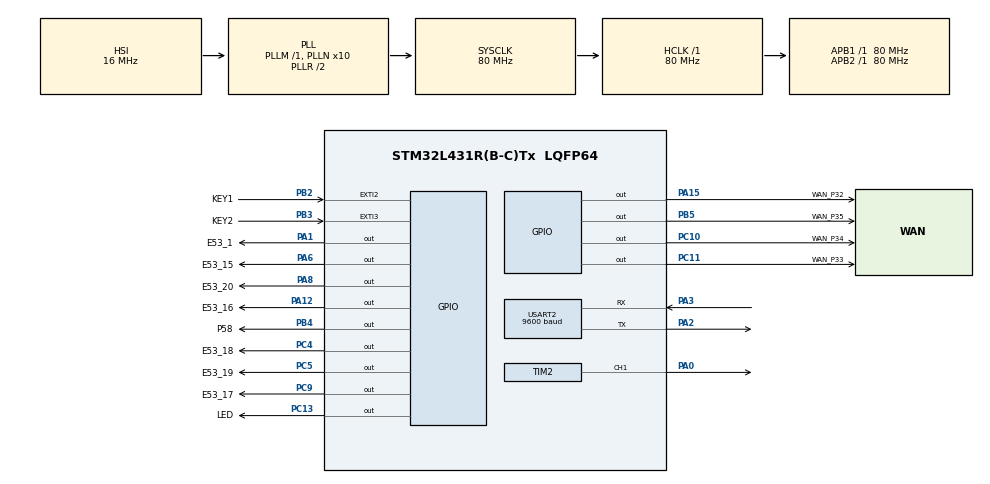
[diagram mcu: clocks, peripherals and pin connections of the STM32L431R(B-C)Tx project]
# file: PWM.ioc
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Dma.Request0=USART2_RX
Dma.Request1=USART2_TX
Dma.USART2_RX.0.Direction=DMA_PERIPH_TO_MEMORY
Dma.USART2_RX.0.Instance=DMA1_Channel6
Dma.USART2_RX.0.MemDataAlignment=DMA_MDATAALIGN_BYTE
Dma.USART2_RX.0.MemInc=DMA_MINC_ENABLE
Dma.USART2_RX.0.Mode=DMA_NORMAL
Dma.USART2_RX.0.PeriphDataAlignment=DMA_PDATAALIGN_BYTE
Dma.USART2_RX.0.PeriphInc=DMA_PINC_DISABLE
Dma.USART2_RX.0.Priority=DMA_PRIORITY_LOW
Dma.USART2_TX.1.Direction=DMA_MEMORY_TO_PERIPH
Dma.USART2_TX.1.Instance=DMA1_Channel7
Dma.USART2_TX.1.MemDataAlignment=DMA_MDATAALIGN_BYTE
Dma.USART2_TX.1.MemInc=DMA_MINC_ENABLE
Dma.USART2_TX.1.Mode=DMA_NORMAL
Dma.USART2_TX.1.PeriphDataAlignment=DMA_PDATAALIGN_BYTE
Dma.USART2_TX.1.PeriphInc=DMA_PINC_DISABLE
Dma.USART2_TX.1.Priority=DMA_PRIORITY_LOW
Mcu.Family=STM32L4
Mcu.Name=STM32L431R(B-C)Tx
Mcu.Package=LQFP64
NVIC.DMA1_Channel6_IRQn=true\:0\:0\:false\:false\:true\:false\:true\:true
NVIC.DMA1_Channel7_IRQn=true\:0\:0\:false\:false\:true\:false\:true\:true
NVIC.EXTI3_IRQn=true\:0\:0\:false\:false\:true\:true\:true\:true
NVIC.PriorityGroup=NVIC_PRIORITYGROUP_4
NVIC.TIM2_IRQn=true\:0\:0\:false\:false\:true\:true\:true\:true
NVIC.USART2_IRQn=true\:0\:0\:false\:false\:true\:true\:true\:true
PA0.Signal=S_TIM2_CH1
PA1.GPIO_Label=E53_1
PA1.Signal=GPIO_Output
PA12.GPIO_Label=E53_16
PA12.Signal=GPIO_Output
PA15\ (JTDI).GPIO_Label=WAN_P32
PA15\ (JTDI).Signal=GPIO_Output
PA2.Mode=Asynchronous
PA2.Signal=USART2_TX
PA3.Mode=Asynchronous
PA3.Signal=USART2_RX
PA6.GPIO_Label=E53_15
PA6.Signal=GPIO_Output
PA8.GPIO_Label=E53_20
PA8.Signal=GPIO_Output
PB2.GPIO_Label=KEY1
PB2.GPIO_PuPd=GPIO_PULLUP
PB2.Signal=GPXTI2
PB3\ (JTDO-TRACESWO).GPIO_Label=KEY2
PB3\ (JTDO-TRACESWO).GPIO_PuPd=GPIO_PULLUP
PB3\ (JTDO-TRACESWO).Signal=GPXTI3
PB4\ (NJTRST).GPIO_Label=P58
PB4\ (NJTRST).Signal=GPIO_Output
PB5.GPIO_Label=WAN_P35
PB5.Signal=GPIO_Output
PC10.GPIO_Label=WAN_P34
PC10.Signal=GPIO_Output
PC11.GPIO_Label=WAN_P33
PC11.Signal=GPIO_Output
PC13.GPIO_Label=LED
PC13.Signal=GPIO_Output
PC4.GPIO_Label=E53_18
PC4.Signal=GPIO_Output
PC5.GPIO_Label=E53_19
PC5.Signal=GPIO_Output
PC9.GPIO_Label=E53_17
PC9.Signal=GPIO_Output
ProjectManager.HeapSize=0x200
ProjectManager.StackSize=0x400
ProjectManager.TargetToolchain=MDK-ARM V5.27
RCC.ADCFreq_Value=64000000
RCC.AHBFreq_Value=80000000
RCC.APB1Freq_Value=80000000
RCC.APB1TimFreq_Value=80000000
RCC.APB2Freq_Value=80000000
RCC.APB2TimFreq_Value=80000000
RCC.CortexFreq_Value=80000000
RCC.HCLKFreq_Value=80000000
RCC.HSE_VALUE=8000000
RCC.HSI48_VALUE=48000000
RCC.HSI_VALUE=16000000
RCC.LSE_VALUE=32768
RCC.MSI_VALUE=4000000
RCC.PLLN=10
RCC.PLLSourceVirtual=RCC_PLLSOURCE_HSI
RCC.SYSCLKFreq_VALUE=80000000
RCC.SYSCLKSource=RCC_SYSCLKSOURCE_PLLCLK
RCC.VCOOutputFreq_Value=160000000
SH.S_TIM2_CH1.0=TIM2_CH1,PWM Generation1 CH1
TIM2.Channel-PWM\ Generation1\ CH1=TIM_CHANNEL_1
TIM2.Period=1739-1
TIM2.Prescaler=4-1
TIM2.Pulse-PWM\ Generation1\ CH1=869
USART2.BaudRate=9600
USART2.VirtualMode-Asynchronous=VM_ASYNC
board=custom

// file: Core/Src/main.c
/* USER CODE BEGIN Header */
/**
  ******************************************************************************
  * @file           : main.c
  * @brief          : Main program body
  ******************************************************************************
  * @attention
  *
  * Copyright (c) 2024 STMicroelectronics.
  * All rights reserved.
  *
  * This software is licensed under terms that can be found in the LICENSE file
  * in the root directory of this software component.
  * If no LICENSE file comes with this software, it is provided AS-IS.
  *
  ******************************************************************************
  */
/* USER CODE END Header */
#include "main.h"

/* USER CODE BEGIN Includes */
#include "tube.h"
/* USER CODE END Includes */

/* USER CODE BEGIN PD */
#define DURATION_PER_BIT 10
/* USER CODE END PD */

TIM_HandleTypeDef htim2;

UART_HandleTypeDef huart2;
DMA_HandleTypeDef hdma_usart2_rx;
DMA_HandleTypeDef hdma_usart2_tx;

/* USER CODE BEGIN PV */
uint8_t digit = 1, transmitting = 0, num_left_end = 10, num_middle_left = 10, num_middle_right = 10, num_right_end = 10;
/* USER CODE END PV */

void SystemClock_Config(void);
static void MX_GPIO_Init(void);
static void MX_DMA_Init(void);
static void MX_USART2_UART_Init(void);
static void MX_TIM2_Init(void);

/* USER CODE BEGIN 0 */
void sendData(char left_end, char middle_left, char middle_right, char right_end, char durationPerBit){
	tube_display(10,10,10,10,4);

	HAL_TIM_PWM_Start_IT(&htim2, TIM_CHANNEL_1);
	HAL_Delay(durationPerBit);//Start Bit #1
	HAL_Delay(left_end * durationPerBit);//High Level Bit #1

	HAL_TIM_PWM_Stop_IT(&htim2, TIM_CHANNEL_1);
	HAL_Delay(9*durationPerBit - left_end*durationPerBit);//Low Level Bit #1
	HAL_Delay(durationPerBit);//Stop Bit #1

	HAL_TIM_PWM_Start_IT(&htim2, TIM_CHANNEL_1);
	HAL_Delay(durationPerBit);//Start Bit #2
	HAL_Delay(middle_left * durationPerBit);//High Level Bit #2

	HAL_TIM_PWM_Stop_IT(&htim2, TIM_CHANNEL_1);
	HAL_Delay(9*durationPerBit - middle_left*durationPerBit);//Low Level Bit #2
	HAL_Delay(durationPerBit);//Stop Bit #2

	HAL_TIM_PWM_Start_IT(&htim2, TIM_CHANNEL_1);
	HAL_Delay(durationPerBit);//Start Bit #3
	HAL_Delay(middle_right * durationPerBit);//High Level Bit #3

	HAL_TIM_PWM_Stop_IT(&htim2, TIM_CHANNEL_1);
	HAL_Delay(9*durationPerBit - middle_right*durationPerBit);//Low Level Bit #3
	HAL_Delay(durationPerBit);//Stop Bit #3

	HAL_TIM_PWM_Start_IT(&htim2, TIM_CHANNEL_1);
	HAL_Delay(durationPerBit);//Start Bit #4
	HAL_Delay(right_end * durationPerBit);//High Level Bit #4

	HAL_TIM_PWM_Stop_IT(&htim2, TIM_CHANNEL_1);
	HAL_Delay(9*durationPerBit - right_end*durationPerBit);//Low Level Bit #4
	HAL_Delay(durationPerBit);//Stop Bit #4
}
/* USER CODE END 0 */

int main(void)
{
  /* USER CODE BEGIN 1 */
	GPIO_PinState	key1_pin_state_new = GPIO_PIN_SET, key1_pin_state_old = GPIO_PIN_SET;
	GPIO_PinState	key2_pin_state_new = GPIO_PIN_SET, key2_pin_state_old = GPIO_PIN_SET;
  /* USER CODE END 1 */

  /* MCU Configuration--------------------------------------------------------*/

  /* Reset of all peripherals, Initializes the Flash interface and the Systick. */
  HAL_Init();

  /* Configure the system clock */
  SystemClock_Config();

  /* Initialize all configured peripherals */
  MX_GPIO_Init();
  MX_DMA_Init();
  MX_USART2_UART_Init();
  MX_TIM2_Init();
  /* USER CODE BEGIN 2 */
	HAL_TIM_Base_Start_IT(&htim2);

  /* USER CODE END 2 */

  /* Infinite loop */
  while (1)
  {

    /* USER CODE BEGIN 3 */
		key1_pin_state_new = HAL_GPIO_ReadPin(KEY1_GPIO_Port,KEY1_Pin);
//		if(key1_pin_state_new != key1_pin_state_old){
//		if ((key1_pin_state_new == GPIO_PIN_RESET) && (key1_pin_state_old == GPIO_PIN_SET))
//		{
//			HAL_TIM_PWM_Start_IT(&htim2, TIM_CHANNEL_1);
//		}
//		else if ((key1_pin_state_new == GPIO_PIN_SET) && (key1_pin_state_old == GPIO_PIN_RESET))
//		{
//			HAL_TIM_PWM_Stop_IT(&htim2, TIM_CHANNEL_1);
//		}
//	}
		if ((key1_pin_state_new == GPIO_PIN_RESET) && (key1_pin_state_old == GPIO_PIN_SET)){
			if(digit == 1){
				num_left_end++;
				if(num_left_end>9) num_left_end=0;
			}
			else if(digit == 2){
				num_middle_left++;
				if(num_middle_left>9) num_middle_left=0;
			}
			else if(digit == 3){
				num_middle_right++;
				if(num_middle_right>9) num_middle_right=0;
			}
			else if(digit == 4){
				num_right_end++;
				if(num_right_end>9) num_right_end=0;
			}
		}
		key1_pin_state_old = key1_pin_state_new;

		key2_pin_state_new = HAL_GPIO_ReadPin(KEY2_GPIO_Port,KEY2_Pin);
		if ((key2_pin_state_new == GPIO_PIN_RESET) && (key2_pin_state_old == GPIO_PIN_SET)){
			if(digit == 1 && num_left_end<10) digit++;
			else if(digit == 2 && num_middle_left<10) digit++;
			else if(digit == 3 && num_middle_right<10) digit++;
			else if(digit == 4 && num_right_end<10) digit++;
			if(digit>4){
				transmitting = 1;
				while(transmitting){
					sendData(num_left_end, num_middle_left, num_middle_right, num_right_end, DURATION_PER_BIT);
					key1_pin_state_new = HAL_GPIO_ReadPin(KEY1_GPIO_Port,KEY1_Pin);
					if ((key1_pin_state_new == GPIO_PIN_RESET) && (key1_pin_state_old == GPIO_PIN_SET)){
						digit = 1;
						num_left_end = 10;
						num_middle_left = 10;
						num_middle_right = 10;
						num_right_end = 10;
						transmitting = 0;
					}
					key1_pin_state_old = key1_pin_state_new;
				}
			}
		}
		key2_pin_state_old = key2_pin_state_new;
		tube_display(num_left_end,num_middle_left,num_middle_right,num_right_end,4);
  }

  /* USER CODE END 3 */
}

void SystemClock_Config(void)
{
  RCC_OscInitTypeDef RCC_OscInitStruct = {0};
  RCC_ClkInitTypeDef RCC_ClkInitStruct = {0};

  /** Configure the main internal regulator output voltage
  */
  if (HAL_PWREx_ControlVoltageScaling(PWR_REGULATOR_VOLTAGE_SCALE1) != HAL_OK)
  {
    Error_Handler();
  }

  /** Initializes the RCC Oscillators according to the specified parameters
  * in the RCC_OscInitTypeDef structure.
  */
  RCC_OscInitStruct.OscillatorType = RCC_OSCILLATORTYPE_HSI;
  RCC_OscInitStruct.HSIState = RCC_HSI_ON;
  RCC_OscInitStruct.HSICalibrationValue = RCC_HSICALIBRATION_DEFAULT;
  RCC_OscInitStruct.PLL.PLLState = RCC_PLL_ON;
  RCC_OscInitStruct.PLL.PLLSource = RCC_PLLSOURCE_HSI;
  RCC_OscInitStruct.PLL.PLLM = 1;
  RCC_OscInitStruct.PLL.PLLN = 10;
  RCC_OscInitStruct.PLL.PLLP = RCC_PLLP_DIV7;
  RCC_OscInitStruct.PLL.PLLQ = RCC_PLLQ_DIV2;
  RCC_OscInitStruct.PLL.PLLR = RCC_PLLR_DIV2;
  if (HAL_RCC_OscConfig(&RCC_OscInitStruct) != HAL_OK)
  {
    Error_Handler();
  }

  /** Initializes the CPU, AHB and APB buses clocks
  */
  RCC_ClkInitStruct.ClockType = RCC_CLOCKTYPE_HCLK|RCC_CLOCKTYPE_SYSCLK
                              |RCC_CLOCKTYPE_PCLK1|RCC_CLOCKTYPE_PCLK2;
  RCC_ClkInitStruct.SYSCLKSource = RCC_SYSCLKSOURCE_PLLCLK;
  RCC_ClkInitStruct.AHBCLKDivider = RCC_SYSCLK_DIV1;
  RCC_ClkInitStruct.APB1CLKDivider = RCC_HCLK_DIV1;
  RCC_ClkInitStruct.APB2CLKDivider = RCC_HCLK_DIV1;

  if (HAL_RCC_ClockConfig(&RCC_ClkInitStruct, FLASH_LATENCY_4) != HAL_OK)
  {
    Error_Handler();
  }
}

static void MX_TIM2_Init(void)
{

  TIM_MasterConfigTypeDef sMasterConfig = {0};
  TIM_OC_InitTypeDef sConfigOC = {0};

  htim2.Instance = TIM2;
  htim2.Init.Prescaler = 4-1;
  htim2.Init.CounterMode = TIM_COUNTERMODE_UP;
  htim2.Init.Period = 1739-1;
  htim2.Init.ClockDivision = TIM_CLOCKDIVISION_DIV1;
  htim2.Init.AutoReloadPreload = TIM_AUTORELOAD_PRELOAD_DISABLE;
  if (HAL_TIM_PWM_Init(&htim2) != HAL_OK)
  {
    Error_Handler();
  }
  sMasterConfig.MasterOutputTrigger = TIM_TRGO_RESET;
  sMasterConfig.MasterSlaveMode = TIM_MASTERSLAVEMODE_DISABLE;
  if (HAL_TIMEx_MasterConfigSynchronization(&htim2, &sMasterConfig) != HAL_OK)
  {
    Error_Handler();
  }
  sConfigOC.OCMode = TIM_OCMODE_PWM1;
  sConfigOC.Pulse = 869;
  sConfigOC.OCPolarity = TIM_OCPOLARITY_HIGH;
  sConfigOC.OCFastMode = TIM_OCFAST_DISABLE;
  if (HAL_TIM_PWM_ConfigChannel(&htim2, &sConfigOC, TIM_CHANNEL_1) != HAL_OK)
  {
    Error_Handler();
  }
  HAL_TIM_MspPostInit(&htim2);

}

static void MX_USART2_UART_Init(void)
{

  huart2.Instance = USART2;
  huart2.Init.BaudRate = 9600;
  huart2.Init.WordLength = UART_WORDLENGTH_8B;
  huart2.Init.StopBits = UART_STOPBITS_1;
  huart2.Init.Parity = UART_PARITY_NONE;
  huart2.Init.Mode = UART_MODE_TX_RX;
  huart2.Init.HwFlowCtl = UART_HWCONTROL_NONE;
  huart2.Init.OverSampling = UART_OVERSAMPLING_16;
  huart2.Init.OneBitSampling = UART_ONE_BIT_SAMPLE_DISABLE;
  huart2.AdvancedInit.AdvFeatureInit = UART_ADVFEATURE_NO_INIT;
  if (HAL_UART_Init(&huart2) != HAL_OK)
  {
    Error_Handler();
  }

}

static void MX_DMA_Init(void)
{

  /* DMA controller clock enable */
  __HAL_RCC_DMA1_CLK_ENABLE();

  /* DMA interrupt init */
  /* DMA1_Channel6_IRQn interrupt configuration */
  HAL_NVIC_SetPriority(DMA1_Channel6_IRQn, 0, 0);
  HAL_NVIC_EnableIRQ(DMA1_Channel6_IRQn);
  /* DMA1_Channel7_IRQn interrupt configuration */
  HAL_NVIC_SetPriority(DMA1_Channel7_IRQn, 0, 0);
  HAL_NVIC_EnableIRQ(DMA1_Channel7_IRQn);

}

static void MX_GPIO_Init(void)
{
  GPIO_InitTypeDef GPIO_InitStruct = {0};

  /* GPIO Ports Clock Enable */
  __HAL_RCC_GPIOC_CLK_ENABLE();
  __HAL_RCC_GPIOA_CLK_ENABLE();
  __HAL_RCC_GPIOB_CLK_ENABLE();

  /*Configure GPIO pin Output Level */
  HAL_GPIO_WritePin(GPIOC, LED_Pin|E53_18_Pin|E53_19_Pin|E53_17_Pin
                          |WAN_P34_Pin|WAN_P33_Pin, GPIO_PIN_RESET);

  /*Configure GPIO pin Output Level */
  HAL_GPIO_WritePin(GPIOA, E53_1_Pin|E53_15_Pin|E53_20_Pin|E53_16_Pin
                          |WAN_P32_Pin, GPIO_PIN_RESET);

  /*Configure GPIO pin Output Level */
  HAL_GPIO_WritePin(GPIOB, P58_Pin|WAN_P35_Pin, GPIO_PIN_RESET);

  /*Configure GPIO pins : LED_Pin E53_18_Pin E53_19_Pin E53_17_Pin
                           WAN_P34_Pin WAN_P33_Pin */
  GPIO_InitStruct.Pin = LED_Pin|E53_18_Pin|E53_19_Pin|E53_17_Pin
                          |WAN_P34_Pin|WAN_P33_Pin;
  GPIO_InitStruct.Mode = GPIO_MODE_OUTPUT_PP;
  GPIO_InitStruct.Pull = GPIO_NOPULL;
  GPIO_InitStruct.Speed = GPIO_SPEED_FREQ_LOW;
  HAL_GPIO_Init(GPIOC, &GPIO_InitStruct);

  /*Configure GPIO pins : E53_1_Pin E53_15_Pin E53_20_Pin E53_16_Pin
                           WAN_P32_Pin */
  GPIO_InitStruct.Pin = E53_1_Pin|E53_15_Pin|E53_20_Pin|E53_16_Pin
                          |WAN_P32_Pin;
  GPIO_InitStruct.Mode = GPIO_MODE_OUTPUT_PP;
  GPIO_InitStruct.Pull = GPIO_NOPULL;
  GPIO_InitStruct.Speed = GPIO_SPEED_FREQ_LOW;
  HAL_GPIO_Init(GPIOA, &GPIO_InitStruct);

  /*Configure GPIO pins : KEY1_Pin KEY2_Pin */
  GPIO_InitStruct.Pin = KEY1_Pin|KEY2_Pin;
  GPIO_InitStruct.Mode = GPIO_MODE_IT_RISING;
  GPIO_InitStruct.Pull = GPIO_PULLUP;
  HAL_GPIO_Init(GPIOB, &GPIO_InitStruct);

  /*Configure GPIO pins : P58_Pin WAN_P35_Pin */
  GPIO_InitStruct.Pin = P58_Pin|WAN_P35_Pin;
  GPIO_InitStruct.Mode = GPIO_MODE_OUTPUT_PP;
  GPIO_InitStruct.Pull = GPIO_NOPULL;
  GPIO_InitStruct.Speed = GPIO_SPEED_FREQ_LOW;
  HAL_GPIO_Init(GPIOB, &GPIO_InitStruct);

  /* EXTI interrupt init*/
  HAL_NVIC_SetPriority(EXTI3_IRQn, 0, 0);
  HAL_NVIC_EnableIRQ(EXTI3_IRQn);

}

/* USER CODE BEGIN 4 */
void HAL_UART_RxCpltCallback(UART_HandleTypeDef *huart){
//	if(huart == &huart2);
}

void HAL_TIM_PeriodElapsedCallback(TIM_HandleTypeDef *htim)
{
	if (htim == &htim2)
	{
		HAL_GPIO_WritePin(LED_GPIO_Port, LED_Pin, GPIO_PIN_SET);
	}
}

void HAL_TIM_OC_DelayElapsedCallback(TIM_HandleTypeDef *htim)
{
	if (htim == &htim2)
	{
		HAL_GPIO_WritePin(LED_GPIO_Port, LED_Pin, GPIO_PIN_SET);
	}
}

void HAL_GPIO_EXTI_Callback (uint16_t GPIO_Pin)
{
//	if(GPIO_Pin == KEY1_Pin);
}

/* USER CODE END 4 */

void Error_Handler(void)
{
  __disable_irq();
  while (1)
  {
  }
}
